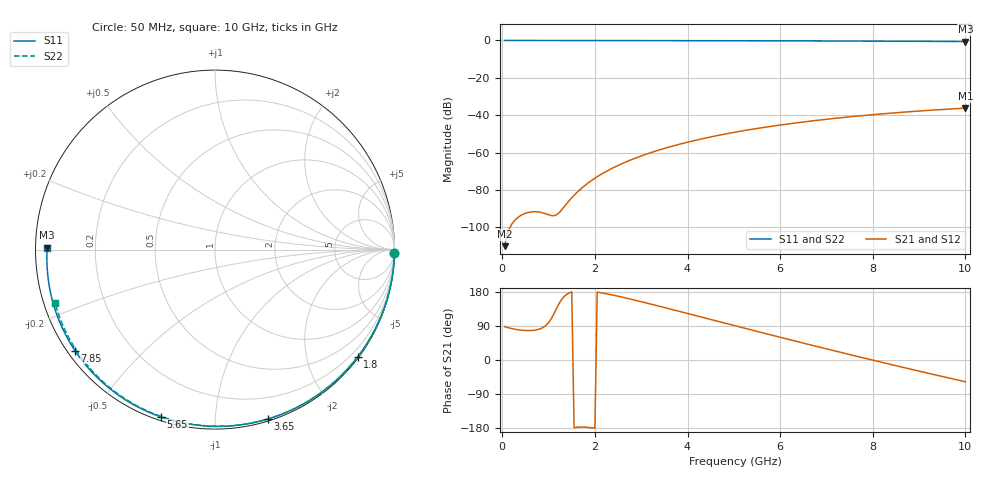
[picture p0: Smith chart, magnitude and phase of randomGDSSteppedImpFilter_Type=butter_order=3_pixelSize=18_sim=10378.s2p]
! freq	dB(S11)	phase(S11)	dB(S12)	phase(S12)
!  dB(S21)	phase(S21)	dB(S22)	phase(S22)
!S-par simulation data
#  GHz  S  DB  R 50
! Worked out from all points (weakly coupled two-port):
!   200 points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, 50 MHz to 10 GHz, reference 50 ohm
!   highest |S21| = -36.24 dB at 10 GHz (marker M1); lowest = -110.1 dB at 50 MHz (marker M2)
!   lowest |S11| = -0.6 dB at 10 GHz (marker M3), VSWR 29.83, Z = 1.68 + j0.268 ohm
!   |S11| at or under -10 dB: nowhere
!   |S22| runs from -0.5 to 0.0 dB; largest |S21 - S12| = 0
!   S11 on the Smith chart (normalised r, x): 50 MHz: open; 1.8 GHz: 0.03, -2.99; 3.65 GHz: 0.02, -1.36; 5.65 GHz: 0.02, -0.73; 7.85 GHz: 0.02, -0.32; 10 GHz: 0.03, +0.01
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0.05  -0.00 -1.0  -110.15 88.1  -110.15 88.1  -0.00 -0.9
0.8  -0.02 -16.7  -91.88 81.5  -91.88 81.5  -0.02 -14.9
1.2  -0.03 -24.8  -92.83 142.9  -92.83 142.9  -0.03 -22.3
1.65  -0.04 -34.0  -80.47 -177.1  -80.47 -177.1  -0.04 -30.5
1.7  -0.04 -35.0  -79.36 -176.9  -79.36 -176.9  -0.04 -31.4
1.75  -0.05 -36.0  -78.31 -176.9  -78.31 -176.9  -0.04 -32.3
1.8  -0.05 -37.0  -77.31 -177.2  -77.31 -177.2  -0.04 -33.2
2.1  -0.05 -42.9  -72.19 178.1  -72.19 178.1  -0.05 -38.6
2.5  -0.06 -50.8  -66.93 168.3  -66.93 168.3  -0.06 -45.6
2.9  -0.08 -58.5  -62.76 156.9  -62.76 156.9  -0.07 -52.6
3.4  -0.09 -67.9  -58.54 141.6  -58.54 141.6  -0.08 -61.2
3.65  -0.10 -72.6  -56.73 133.8  -56.73 133.8  -0.09 -65.4
4.35  -0.12 -85.3  -52.45 111.7  -52.45 111.7  -0.11 -76.9
5.05  -0.15 -97.6  -49.01 89.6  -49.01 89.6  -0.14 -88.1
5.65  -0.18 -107.8  -46.55 70.8  -46.55 70.8  -0.16 -97.4
6.15  -0.21 -116.2  -44.77 55.3  -44.77 55.3  -0.19 -105.0
6.7  -0.24 -125.3  -43.05 38.5  -43.05 38.5  -0.22 -113.2
7.3  -0.29 -135.2  -41.40 20.4  -41.40 20.4  -0.26 -122.1
7.85  -0.34 -144.2  -40.07 4.0  -40.07 4.0  -0.31 -130.1
8.35  -0.39 -152.4  -39.00 -10.7  -39.00 -10.7  -0.35 -137.3
9.2  -0.48 -166.7  -37.44 -35.1  -37.44 -35.1  -0.44 -149.7
10  -0.58 179.4  -36.24 -57.4  -36.24 -57.4  -0.54 -161.6
